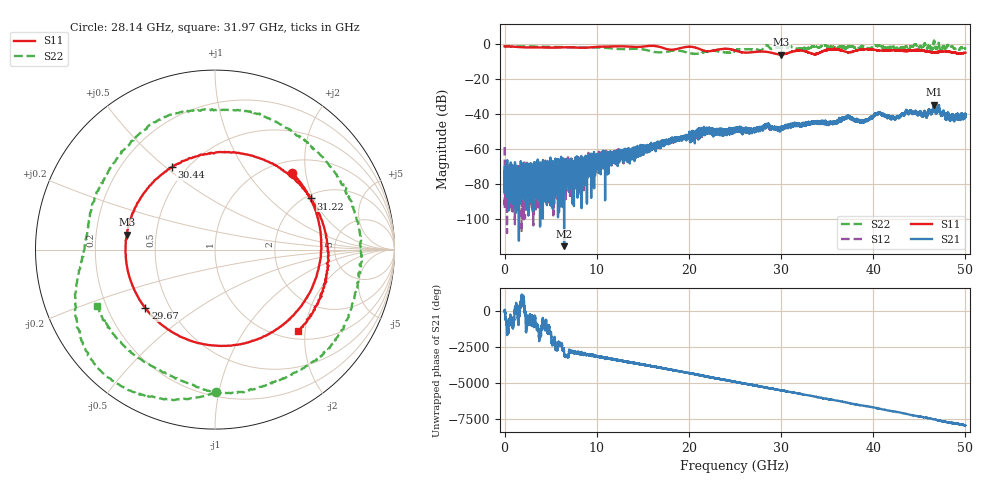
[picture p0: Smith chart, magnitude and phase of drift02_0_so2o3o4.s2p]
!Created with skrf (http://scikit-rf.org).
# Hz S RI R 50.0
!freq ReS11 ImS11 ReS21 ImS21 ReS12 ImS12 ReS22 ImS22
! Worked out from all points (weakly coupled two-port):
!   10001 points, 300 kHz to 50 GHz, reference 50 ohm
!   highest |S21| = -34.61 dB at 46.61 GHz (marker M1); lowest = -115.3 dB at 6.46 GHz (marker M2)
!   lowest |S11| = -6.1 dB at 30.04 GHz (marker M3), VSWR 2.96, Z = 17 + j3.72 ohm
!   |S11| at or under -10 dB: nowhere
!   |S22| runs from -5.7 to 2.0 dB; largest |S21 - S12| = 0.0037
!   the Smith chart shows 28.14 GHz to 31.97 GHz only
!   S11 on the Smith chart (normalised r, x): 28.14 GHz: 1.25, +1.69; 29.67 GHz: 0.37, -0.32; 30.44 GHz: 0.42, +0.52; 31.22 GHz: 2.13, +1.92; 31.97 GHz: 1.17, -1.83
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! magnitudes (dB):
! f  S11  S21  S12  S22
! 300 kHz  -1.3  -72.6  -58.7  -2.1
! 255.3 MHz  -1.4  -73.8  -76.4  -1.4
! 455.3 MHz  -1.4  -75.0  -78.2  -1.5
! 6.46 GHz  -1.9  -115.3  -80.0  -1.8
! 8.335 GHz  -2.2  -73.7  -72.8  -1.9
! 16.67 GHz  -1.5  -57.0  -57.6  -4.8
! 21.54 GHz  -3.6  -49.8  -50.7  -4.7
! 25 GHz  -3.7  -48.2  -49.1  -3.9
! 28.14 GHz  -4.4  -47.8  -47.2  -2.0
! 29.67 GHz  -5.9  -48.8  -48.7  -2.2
! 30.04 GHz  -6.1  -49.0  -47.9  -2.1
! 30.44 GHz  -5.7  -47.2  -47.6  -1.9
! 31.22 GHz  -4.3  -46.4  -46.2  -1.8
! 31.97 GHz  -3.8  -46.1  -46.2  -2.8
! 33.34 GHz  -5.5  -45.1  -44.9  -1.5
! 37.22 GHz  -4.7  -41.7  -41.0  -1.7
! 38.92 GHz  -3.1  -44.4  -44.4  -1.4
! 40.6 GHz  -3.6  -39.2  -39.2  -0.9
! 41.67 GHz  -3.7  -40.7  -41.2  -1.8
! 46.61 GHz  -4.8  -34.6  -34.3  2.0
! 48.1 GHz  -4.4  -39.7  -39.7  -0.7
! 50 GHz  -5.0  -41.5  -39.8  -2.6
